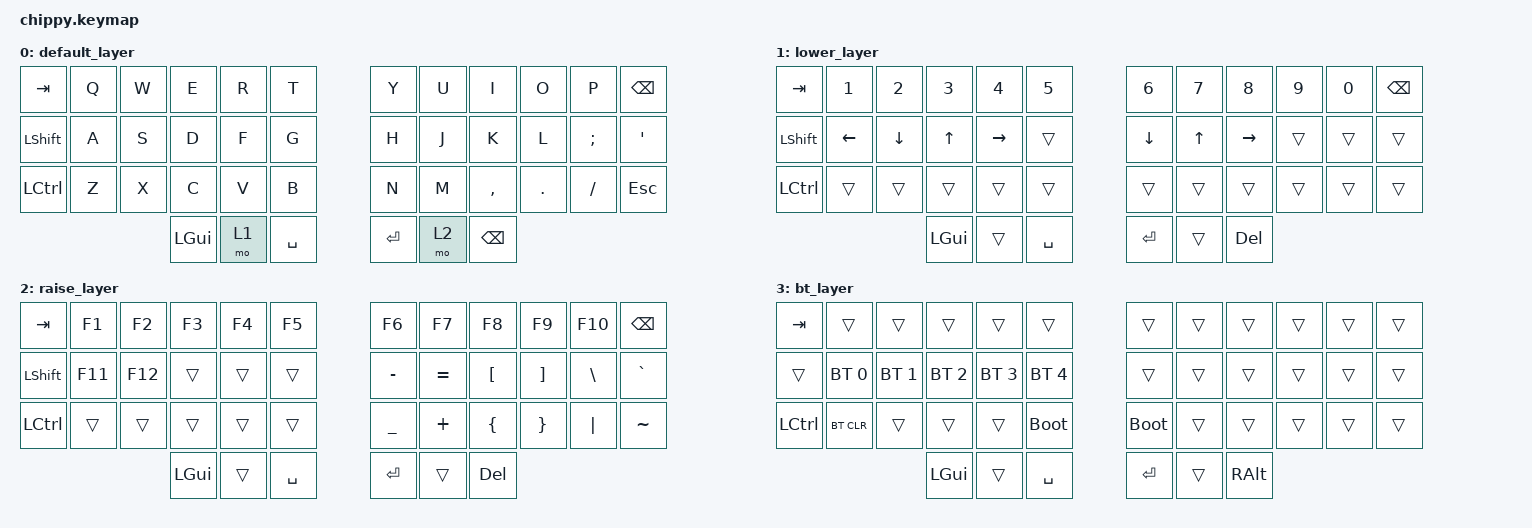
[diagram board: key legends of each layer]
/*
 * Copyright (c) 2020 The ZMK Contributors
 *
 * SPDX-License-Identifier: MIT
 */

#include <behaviors.dtsi>
#include <dt-bindings/zmk/keys.h>
#include <dt-bindings/zmk/bt.h>

/ {
    conditional_layers {
        compatible = "zmk,conditional-layers";
        tri_layer {
            if-layers = <1 2>;
            then-layer = <3>;
        };
    };

    keymap {
        compatible = "zmk,keymap";

        default_layer {
            // -----------------------------------------------------------------------------------------
            // |  TAB |  Q  |  W  |  E  |  R  |  T  |   |  Y  |  U   |  I  |  O  |  P  | BKSP |
            // | SHFT |  A  |  S  |  D  |  F  |  G  |   |  H  |  J   |  K  |  L  |  ;  |  '   |
            // | CTRL |  Z  |  X  |  C  |  V  |  B  |   |  N  |  M   |  ,  |  .  |  /  | ESC  |
            //                    | GUI | LWR | SPC |   | ENT | RSE  | ALT |
            bindings = <
                &kp TAB   &kp Q &kp W &kp E &kp R &kp T   &kp Y &kp U  &kp I     &kp O   &kp P    &kp BSPC
                &kp LSHFT &kp A &kp S &kp D &kp F &kp G   &kp H &kp J  &kp K     &kp L   &kp SEMI &kp SQT
                &kp LCTRL &kp Z &kp X &kp C &kp V &kp B   &kp N &kp M  &kp COMMA &kp DOT &kp FSLH &kp ESC
                                &kp LGUI &mo 1 &kp SPACE   &kp RET &mo 2 &kp BSPC
            >;
        };
        lower_layer {
            // -----------------------------------------------------------------------------------------
            // |  TAB |  1  |  2  |  3  |  4  |  5  |   |  6  |  7  |  8  |  9  |  0  | BKSP |
            // | SHFT | LFT | DWN |  UP | RGT |     |   | LFT | DWN |  UP | RGT |     |      |
            // | CTRL | BT1 |     |     |     |     |   |     |     |     |     |     |      |
            //                    | GUI |     | SPC |   | ENT |     | ALT |
            bindings = <
                &kp TAB    &kp N1       &kp N2       &kp N3       &kp N4       &kp N5         &kp N6   &kp N7   &kp N8 &kp N9    &kp N0 &kp BSPC
                &kp LSHFT   &kp LEFT    &kp DOWN    &kp UP      &kp RIGHT    &trans           &kp DOWN &kp UP &kp RIGHT &trans &trans &trans
                &kp LCTRL  &trans       &trans       &trans       &trans       &trans         &trans   &trans   &trans &trans    &trans &trans
                                                    &kp LGUI     &trans       &kp SPACE      &kp RET  &trans   &kp DEL
            >;
        };

        raise_layer {
            // -----------------------------------------------------------------------------------------
            // |  TAB |  !  |  @  |  #  |  $  |  %  |   |  ^  |  &  |  *  |  (  |  )  | BKSP |
            // | SHFT |     |     |     |     |     |   |  -  |  =  |  [  |  ]  |  \  |  `   |
            // | CTRL |     |     |     |     |     |   |  _  |  +  |  {  |  }  | "|" |  ~   |
            //                    | GUI |     | SPC |   | ENT |     | ALT |
            bindings = <
                &kp  TAB  &kp F1   &kp F2 &kp F3   &kp F4   &kp F5      &kp F6    &kp F7    &kp F8      &kp F9 &kp F10 &kp BSPC
                &kp LSHFT &kp F11  &kp F12 &trans   &trans   &trans      &kp MINUS &kp EQUAL &kp LBKT    &kp RBKT &kp BSLH &kp GRAVE
                &kp LCTRL &trans   &trans &trans   &trans   &trans      &kp UNDER &kp PLUS  &kp LBRC    &kp RBRC &kp PIPE &kp TILDE
                                        &kp LGUI &trans   &kp SPACE   &kp RET   &trans    &kp DEL
            >;
        };

        bt_layer {
            // -----------------------------------------------------------------------------------------
            // |  TAB |  1  |  2  |  3  |  4  |  5  |   |  6  |  7  |  8  |  9  |  0  | BKSP |
            // |      | BT1 | BT2 | BT3 | BT4 | BT5 |   |     |     |     |     |     |      |
            // | SHFT |BTCLR|     |     |     |BTLDR|   |     |     |     |     |     |      |
            //                    | GUI |     | SPC |   | ENT |     | ALT |
            bindings = <
                &kp  TAB    &trans      &trans          &trans          &trans          &trans          &trans &trans  &trans &trans &trans &trans
                &trans &bt  BT_SEL 0   &bt BT_SEL 1    &bt BT_SEL 2    &bt BT_SEL 3    &bt BT_SEL 4    &trans &trans &trans  &trans &trans &trans
                &kp LCTRL &bt BT_CLR   &trans &trans   &trans   &bootloader                                &bootloader &trans  &trans        &trans &trans &trans
                                        &kp LGUI &trans   &kp SPACE                                     &kp RET   &trans    &kp RALT
            >;
        };
    };
};
